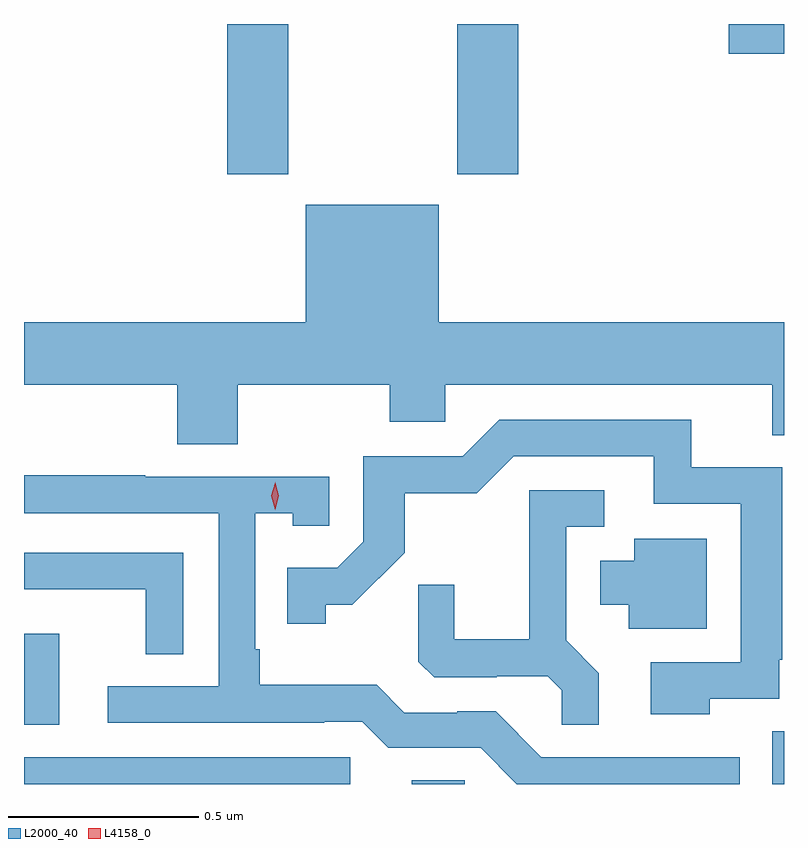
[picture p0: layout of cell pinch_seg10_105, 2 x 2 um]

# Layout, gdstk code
import gdstk
lib = gdstk.Library(unit=1e-6, precision=1e-09)
def R(c, l, rs):  # rectangles x0, y0, x1, y1
    for r in rs: c.add(gdstk.rectangle(r[:2], r[2:], *l))
def P(c, l, *ps):  # polygons
    for p in ps: c.add(gdstk.Polygon(p, *l))
L2000_40 = (2000, 40)
L4158_0 = (4158, 0)

pinch_seg10_105 = lib.new_cell('pinch_seg10_105')
R(pinch_seg10_105, L2000_40, [(701.416,1289.941,702.274,1290.012), (702.437,1289.941,702.576,1289.951), (703.385,1289.941,703.416,1290.08), (701.416,1290.097,701.509,1290.336), (701.951,1291.545,702.111,1291.941), (702.556,1291.545,702.716,1291.941), (703.271,1291.863,703.416,1291.941)])
P(pinch_seg10_105, L2000_40, [(701.979,1290.992),(702.379,1290.992),(702.379,1290.894),(702.525,1290.894),(702.525,1290.992),(703.385,1290.992),(703.385,1290.859),(703.416,1290.859),(703.416,1291.156),(702.508,1291.156),(702.508,1291.465),(702.158,1291.465),(702.158,1291.156),(701.416,1291.156),(701.416,1290.992),(701.819,1290.992),(701.819,1290.835),(701.979,1290.835)],
  [(703.221,1290.165),(703.403,1290.165),(703.403,1290.268),(703.411,1290.268),(703.411,1290.774),(703.172,1290.774),(703.172,1290.9),(702.666,1290.9),(702.57,1290.804),(702.309,1290.804),(702.309,1290.579),(702.24,1290.51),(702.109,1290.51),(702.109,1290.363),(702.21,1290.363),(702.21,1290.413),(702.28,1290.413),(702.418,1290.55),(702.418,1290.706),(702.607,1290.706),(702.705,1290.804),(703.073,1290.804),(703.073,1290.678),(703.302,1290.678),(703.302,1290.261),(703.065,1290.261),(703.065,1290.125),(703.221,1290.125)],
  [(703.3,1290.012),(702.777,1290.012),(702.657,1290.132),(702.556,1290.132),(702.556,1290.129),(702.417,1290.129),(702.344,1290.202),(702.037,1290.202),(702.037,1290.295),(702.024,1290.295),(702.024,1290.653),(702.123,1290.653),(702.123,1290.621),(702.219,1290.621),(702.219,1290.75),(701.735,1290.75),(701.735,1290.753),(701.416,1290.753),(701.416,1290.654),(701.928,1290.654),(701.928,1290.198),(701.637,1290.198),(701.637,1290.102),(702.206,1290.102),(702.206,1290.105),(702.306,1290.105),(702.375,1290.036),(702.618,1290.036),(702.713,1289.941),(703.3,1289.941)],
  [(702.929,1290.233),(702.843,1290.319),(702.843,1290.618),(702.943,1290.618),(702.943,1290.714),(702.746,1290.714),(702.746,1290.322),(702.548,1290.322),(702.548,1290.465),(702.454,1290.465),(702.454,1290.263),(702.495,1290.222),(702.66,1290.222),(702.66,1290.225),(702.794,1290.225),(702.831,1290.188),(702.831,1290.097),(702.929,1290.097)],
  [(703.213,1290.586),(703.022,1290.586),(703.022,1290.529),(702.932,1290.529),(702.932,1290.413),(703.007,1290.413),(703.007,1290.35),(703.213,1290.35)],
  [(701.835,1290.549),(701.416,1290.549),(701.416,1290.453),(701.737,1290.453),(701.737,1290.283),(701.835,1290.283)])
P(pinch_seg10_105, L4158_0, [(702.077,1290.663),(702.077,1290.663),(702.067,1290.699),(702.077,1290.734),(702.077,1290.735),(702.077,1290.734),(702.087,1290.699),(702.077,1290.663)])

lib.write_gds('pinch_seg10_105.gds')
